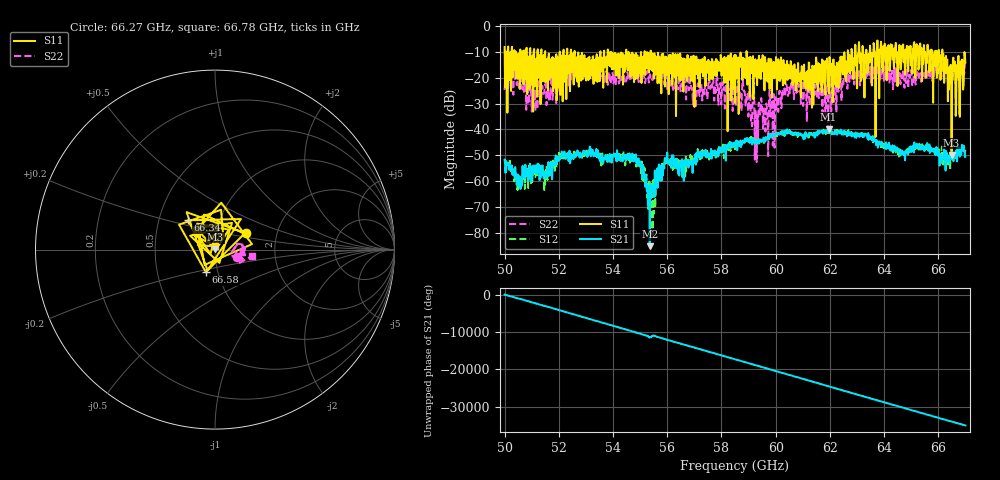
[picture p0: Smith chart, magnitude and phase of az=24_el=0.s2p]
!Created with skrf (http://scikit-rf.org).
# GHz S RI R 50.0
!freq ReS11 ImS11 ReS21 ImS21 ReS12 ImS12 ReS22 ImS22
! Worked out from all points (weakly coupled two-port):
!   1001 points, 50 GHz to 67 GHz, reference 50 ohm
!   highest |S21| = -39.89 dB at 61.95 GHz (marker M1); lowest = -85.0 dB at 55.36 GHz (marker M2)
!   lowest |S11| = -49.8 dB at 66.49 GHz (marker M3), VSWR 1.01, Z = 50.2 + j0.217 ohm
!   |S11| at or under -10 dB: 52.58 GHz to 53.53 GHz (950.1 MHz wide, 1.79 % of centre); 55.39 GHz to 58.92 GHz (3.534 GHz wide, 6.18 % of centre); 58.93 GHz to 62.66 GHz (3.737 GHz wide, 6.15 % of centre) (the widest 3 of 63)
!   |S22| runs from -52.6 to -13.5 dB; largest |S21 - S12| = 0.0025
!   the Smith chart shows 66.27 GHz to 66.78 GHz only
!   S11 on the Smith chart (normalised r, x): 66.27 GHz: 1.39, +0.26; 66.34 GHz: 0.70, +0.24; 66.58 GHz: 0.88, -0.22; 66.78 GHz: 0.99, +0.04
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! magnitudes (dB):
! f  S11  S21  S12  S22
! 50 GHz  -8.2  -51.7  -52.4  -24.8
! 50.56 GHz  -24.3  -58.2  -61.3  -22.5
! 51.14 GHz  -13.9  -56.9  -58.3  -32.8
! 52.84 GHz  -12.1  -49.7  -49.5  -20.4
! 54.79 GHz  -12.0  -50.9  -49.8  -18.9
! 55.36 GHz  -15.9  -85.0  -66.6  -18.7
! 55.49 GHz  -14.3  -61.5  -58.7  -18.5
! 55.68 GHz  -13.4  -55.2  -55.9  -21.0
! 58.5 GHz  -29.8  -46.5  -47.7  -23.2
! 59.11 GHz  -12.9  -43.8  -44.2  -37.7
! 59.32 GHz  -22.9  -44.5  -44.2  -34.0
! 60.34 GHz  -14.9  -40.8  -41.4  -25.0
! 61.34 GHz  -31.6  -41.6  -41.9  -26.0
! 61.95 GHz  -17.4  -39.9  -39.8  -28.4
! 62.61 GHz  -16.1  -41.0  -41.4  -19.5
! 64.18 GHz  -12.0  -45.1  -46.4  -17.8
! 66.27 GHz  -14.2  -55.9  -49.9  -17.9
! 66.34 GHz  -13.0  -51.0  -50.9  -17.3
! 66.49 GHz  -49.8  -51.2  -50.4  -15.6
! 66.58 GHz  -17.4  -50.8  -50.7  -15.4
! 66.78 GHz  -34.1  -46.8  -48.6  -13.5
! 67 GHz  -14.2  -50.6  -47.8  -14.2
